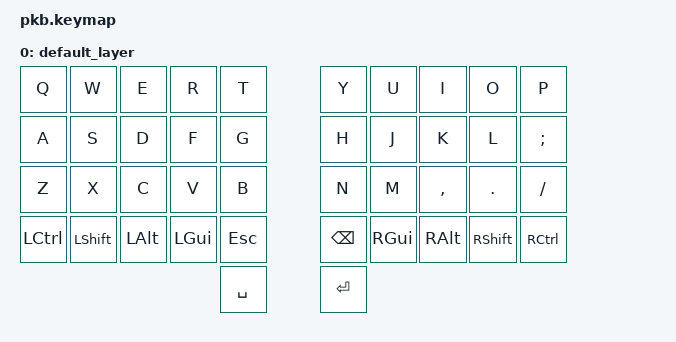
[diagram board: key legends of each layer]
// This file was generated from a template. Edit it to match your keyboard.
// See https://zmk.dev/docs/development/hardware-integration/new-shield for more instructions.

#include <behaviors.dtsi>
#include <dt-bindings/zmk/keys.h>

/ {
    keymap {
        compatible = "zmk,keymap";

        default_layer {
            bindings = <
            // Left Half (Rows 0-3)                        // Right Half (Rows 0-3)
            &kp Q     &kp W     &kp E    &kp R    &kp T    &kp Y    &kp U    &kp I     &kp O   &kp P
            &kp A     &kp S     &kp D    &kp F    &kp G    &kp H    &kp J    &kp K     &kp L   &kp SEMI
            &kp Z     &kp X     &kp C    &kp V    &kp B    &kp N    &kp M    &kp COMMA &kp DOT &kp SLASH
            &kp LCTRL &kp LSHFT &kp LALT &kp LGUI &kp ESC  &kp BSPC &kp RGUI &kp RALT  &kp RSHFT &kp RCTRL
            
            // Left Thumb (Row 4)                          // Right Thumb (Row 4)
                                         &kp SPACE                  &kp RET
            >;
        };
    };
};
